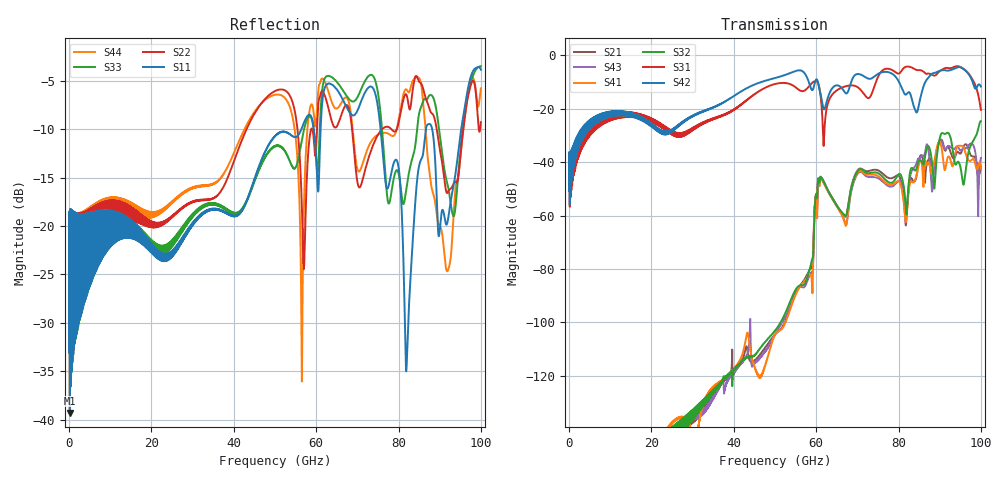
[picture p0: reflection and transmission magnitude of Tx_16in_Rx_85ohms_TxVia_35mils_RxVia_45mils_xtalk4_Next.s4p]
! Info: Touchstone file created by Circ.  Input file=Tx_16in_Rx_85ohms_TxVia_35mils_RxVia_45mils.circ
# Hz S RI R 50
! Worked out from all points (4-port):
!   10000 points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, 10 MHz to 100 GHz, reference 50 ohm
!   strongest paths, dB at 10 MHz, 25.01 GHz, 50.01 GHz, 75.01 GHz, 100 GHz:
!     S42: -50.7, -28.1, -8.5, -7.0, -11.7
!     S31: -50.8, -29.5, -10.8, -8.1, -20.4
!     S32: -, -147.8, -103.1, -44.1, -24.6
!     S41: -, -138.0, -104.6, -45.2, -42.3
!     S43: -, -140.9, -104.7, -46.0, -38.5
!     S21: -, -142.5, -104.6, -43.1, -41.7
!   lowest |S11| = -39.3 dB at 200 MHz (marker M1), VSWR 1.02, Z = 49.2 - j0.693 ohm
!   |S11| at or under -10 dB: start of sweep to 56.39 GHz; 75.65 GHz to 86.63 GHz (10.99 GHz wide, 13.5 % of centre); 88.17 GHz to 95.21 GHz (7.036 GHz wide, 7.67 % of centre)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
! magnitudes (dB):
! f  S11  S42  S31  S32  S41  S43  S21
! 10 MHz  -33.0  -50.7  -50.8  -  -  -  -
! 200 MHz  -39.3  -46.1  -46.1  -  -  -195.0  -198.8
! 58.06 GHz  -8.5  -9.3  -12.0  -82.2  -82.6  -83.6  -81.4
! 60.95 GHz  -11.4  -13.6  -13.6  -46.1  -46.7  -47.0  -45.9
! 81.99 GHz  -34.3  -14.5  -4.2  -59.3  -59.7  -56.6  -59.0
! 90.2 GHz  -19.5  -5.7  -5.7  -30.0  -33.1  -31.7  -31.7
! 100 GHz  -3.8  -11.7  -20.4  -24.6  -42.3  -38.5  -41.7
